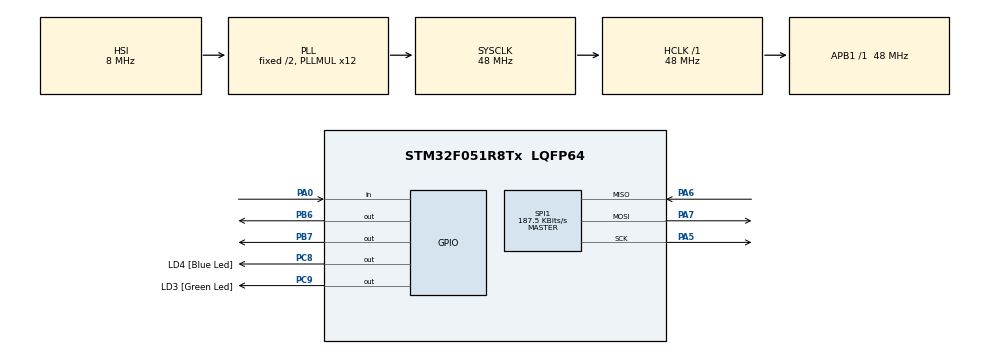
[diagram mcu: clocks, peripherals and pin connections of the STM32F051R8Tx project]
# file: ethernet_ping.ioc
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Mcu.Family=STM32F0
Mcu.Name=STM32F051R8Tx
Mcu.Package=LQFP64
PA0.Signal=GPIO_Input
PA13.GPIO_Label=SWDIO
PA13.Mode=Serial_Wire
PA13.Signal=SYS_SWDIO
PA14.GPIO_Label=SWCLK
PA14.Mode=Serial_Wire
PA14.Signal=SYS_SWCLK
PA5.Mode=Full_Duplex_Master
PA5.Signal=SPI1_SCK
PA6.Mode=Full_Duplex_Master
PA6.Signal=SPI1_MISO
PA7.Mode=Full_Duplex_Master
PA7.Signal=SPI1_MOSI
PB6.PinState=GPIO_PIN_SET
PB6.Signal=GPIO_Output
PB7.PinState=GPIO_PIN_SET
PB7.Signal=GPIO_Output
PC8.GPIO_Label=LD4 [Blue Led]
PC8.Signal=GPIO_Output
PC9.GPIO_Label=LD3 [Green Led]
PC9.Signal=GPIO_Output
ProjectManager.HeapSize=0x200
ProjectManager.StackSize=0x400
ProjectManager.TargetToolchain=STM32CubeIDE
RCC.AHBFreq_Value=48000000
RCC.APB1Freq_Value=48000000
RCC.APB1TimFreq_Value=48000000
RCC.HCLKFreq_Value=48000000
RCC.PLLMUL=RCC_PLL_MUL12
RCC.SYSCLKFreq_VALUE=48000000
RCC.SYSCLKSource=RCC_SYSCLKSOURCE_PLLCLK
SPI1.BaudRatePrescaler=SPI_BAUDRATEPRESCALER_256
SPI1.CLKPhase=SPI_PHASE_1EDGE
SPI1.CalculateBaudRate=187.5 KBits/s
SPI1.DataSize=SPI_DATASIZE_8BIT
SPI1.Direction=SPI_DIRECTION_2LINES
SPI1.Mode=SPI_MODE_MASTER
SPI1.VirtualType=VM_MASTER
board=STM32F0DISCOVERY

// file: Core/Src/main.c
/* USER CODE BEGIN Header */
/**
  ******************************************************************************
  * @file           : main.c
  * @brief          : Main program body
  ******************************************************************************
  * @attention
  *
  * Copyright (c) 2026 STMicroelectronics.
  * All rights reserved.
  *
  * This software is licensed under terms that can be found in the LICENSE file
  * in the root directory of this software component.
  * If no LICENSE file comes with this software, it is provided AS-IS.
  *
  ******************************************************************************
  */
/* USER CODE END Header */
#include "main.h"

/* USER CODE BEGIN Includes */
#include "string.h"
#include "lwip/init.h"
#include "lwip/netif.h"
#include "lwip/timeouts.h"
#include "netif/etharp.h"
#include "lwip/tcp.h"
#include "enc28j60.h"
#include "enc_netif.h"
#include "http_server.h"
/* USER CODE END Includes */

SPI_HandleTypeDef hspi1;

/* USER CODE BEGIN PV */
uint8_t enc_revision = 0;
extern uint8_t mac_addr[6];
uint16_t button_count;
struct netif enc_netif;
uint8_t pkt_buf[400];
/* USER CODE END PV */

void SystemClock_Config(void);
static void MX_GPIO_Init(void);
static void MX_SPI1_Init(void);

int main(void)
{

  /* MCU Configuration--------------------------------------------------------*/

  /* Reset of all peripherals, Initializes the Flash interface and the Systick. */
  HAL_Init();

  /* Configure the system clock */
  SystemClock_Config();

  /* Initialize all configured peripherals */
  MX_GPIO_Init();
  MX_SPI1_Init();
  /* USER CODE BEGIN 2 */

  ENC28J60_Init();
  lwip_init();
  ip4_addr_t ip, netmask, gw;
  IP4_ADDR(&ip,      192, 168, 1, 100);
  IP4_ADDR(&netmask, 255, 255, 255, 0);
  IP4_ADDR(&gw,      192, 168, 1,   1);

  // netif ekle
  netif_add(&enc_netif, &ip, &netmask, &gw,
            NULL, enc28j60_netif_init, ethernet_input);
  netif_set_default(&enc_netif);
  netif_set_up(&enc_netif);
  // HTTP server başlat
  struct tcp_pcb *pcb = tcp_new();
  tcp_bind(pcb, IP_ADDR_ANY, 80);
  struct tcp_pcb *listen_pcb = tcp_listen(pcb);
  if (listen_pcb == NULL)
  {
      // RAM yetmedi
      while(1);
  }
  tcp_accept(listen_pcb, http_accept);
  /* USER CODE END 2 */

  /* Infinite loop */
  while (1)
  {

    /* USER CODE BEGIN 3 */
	    uint16_t len = ENC28J60_PacketReceive(pkt_buf, sizeof(pkt_buf));
	    if (len > 0)
	    {
	        struct pbuf *p = pbuf_alloc(PBUF_RAW, len, PBUF_POOL);
	        if (p != NULL)
	        {
	            pbuf_take(p, pkt_buf, len);
	            if (enc_netif.input(p, &enc_netif) != ERR_OK)
	                pbuf_free(p);
	        }
	    }
	    sys_check_timeouts();

	    if (HAL_GPIO_ReadPin(GPIOA, GPIO_PIN_0) == GPIO_PIN_SET)
	    {
	        button_count++;
	        HAL_Delay(200);
	    }
  }
  /* USER CODE END 3 */
}

void SystemClock_Config(void)
{
  RCC_OscInitTypeDef RCC_OscInitStruct = {0};
  RCC_ClkInitTypeDef RCC_ClkInitStruct = {0};

  /** Initializes the RCC Oscillators according to the specified parameters
  * in the RCC_OscInitTypeDef structure.
  */
  RCC_OscInitStruct.OscillatorType = RCC_OSCILLATORTYPE_HSI;
  RCC_OscInitStruct.HSIState = RCC_HSI_ON;
  RCC_OscInitStruct.HSICalibrationValue = RCC_HSICALIBRATION_DEFAULT;
  RCC_OscInitStruct.PLL.PLLState = RCC_PLL_ON;
  RCC_OscInitStruct.PLL.PLLSource = RCC_PLLSOURCE_HSI;
  RCC_OscInitStruct.PLL.PLLMUL = RCC_PLL_MUL12;
  RCC_OscInitStruct.PLL.PREDIV = RCC_PREDIV_DIV1;
  if (HAL_RCC_OscConfig(&RCC_OscInitStruct) != HAL_OK)
  {
    Error_Handler();
  }

  /** Initializes the CPU, AHB and APB buses clocks
  */
  RCC_ClkInitStruct.ClockType = RCC_CLOCKTYPE_HCLK|RCC_CLOCKTYPE_SYSCLK
                              |RCC_CLOCKTYPE_PCLK1;
  RCC_ClkInitStruct.SYSCLKSource = RCC_SYSCLKSOURCE_PLLCLK;
  RCC_ClkInitStruct.AHBCLKDivider = RCC_SYSCLK_DIV1;
  RCC_ClkInitStruct.APB1CLKDivider = RCC_HCLK_DIV1;

  if (HAL_RCC_ClockConfig(&RCC_ClkInitStruct, FLASH_LATENCY_1) != HAL_OK)
  {
    Error_Handler();
  }
}

static void MX_SPI1_Init(void)
{

  /* SPI1 parameter configuration*/
  hspi1.Instance = SPI1;
  hspi1.Init.Mode = SPI_MODE_MASTER;
  hspi1.Init.Direction = SPI_DIRECTION_2LINES;
  hspi1.Init.DataSize = SPI_DATASIZE_8BIT;
  hspi1.Init.CLKPolarity = SPI_POLARITY_LOW;
  hspi1.Init.CLKPhase = SPI_PHASE_1EDGE;
  hspi1.Init.NSS = SPI_NSS_SOFT;
  hspi1.Init.BaudRatePrescaler = SPI_BAUDRATEPRESCALER_256;
  hspi1.Init.FirstBit = SPI_FIRSTBIT_MSB;
  hspi1.Init.TIMode = SPI_TIMODE_DISABLE;
  hspi1.Init.CRCCalculation = SPI_CRCCALCULATION_DISABLE;
  hspi1.Init.CRCPolynomial = 7;
  hspi1.Init.CRCLength = SPI_CRC_LENGTH_DATASIZE;
  hspi1.Init.NSSPMode = SPI_NSS_PULSE_ENABLE;
  if (HAL_SPI_Init(&hspi1) != HAL_OK)
  {
    Error_Handler();
  }

}

static void MX_GPIO_Init(void)
{
  GPIO_InitTypeDef GPIO_InitStruct = {0};

  /* GPIO Ports Clock Enable */
  __HAL_RCC_GPIOA_CLK_ENABLE();
  __HAL_RCC_GPIOC_CLK_ENABLE();
  __HAL_RCC_GPIOB_CLK_ENABLE();

  /*Configure GPIO pin Output Level */
  HAL_GPIO_WritePin(GPIOC, LD4_Pin|LD3_Pin, GPIO_PIN_RESET);

  /*Configure GPIO pin Output Level */
  HAL_GPIO_WritePin(GPIOB, GPIO_PIN_6|GPIO_PIN_7, GPIO_PIN_SET);

  /*Configure GPIO pin : PA0 */
  GPIO_InitStruct.Pin = GPIO_PIN_0;
  GPIO_InitStruct.Mode = GPIO_MODE_INPUT;
  GPIO_InitStruct.Pull = GPIO_NOPULL;
  HAL_GPIO_Init(GPIOA, &GPIO_InitStruct);

  /*Configure GPIO pins : LD4_Pin LD3_Pin */
  GPIO_InitStruct.Pin = LD4_Pin|LD3_Pin;
  GPIO_InitStruct.Mode = GPIO_MODE_OUTPUT_PP;
  GPIO_InitStruct.Pull = GPIO_NOPULL;
  GPIO_InitStruct.Speed = GPIO_SPEED_FREQ_LOW;
  HAL_GPIO_Init(GPIOC, &GPIO_InitStruct);

  /*Configure GPIO pins : PB6 PB7 */
  GPIO_InitStruct.Pin = GPIO_PIN_6|GPIO_PIN_7;
  GPIO_InitStruct.Mode = GPIO_MODE_OUTPUT_PP;
  GPIO_InitStruct.Pull = GPIO_NOPULL;
  GPIO_InitStruct.Speed = GPIO_SPEED_FREQ_LOW;
  HAL_GPIO_Init(GPIOB, &GPIO_InitStruct);

}

void Error_Handler(void)
{
  __disable_irq();
  while (1)
  {
  }
}
